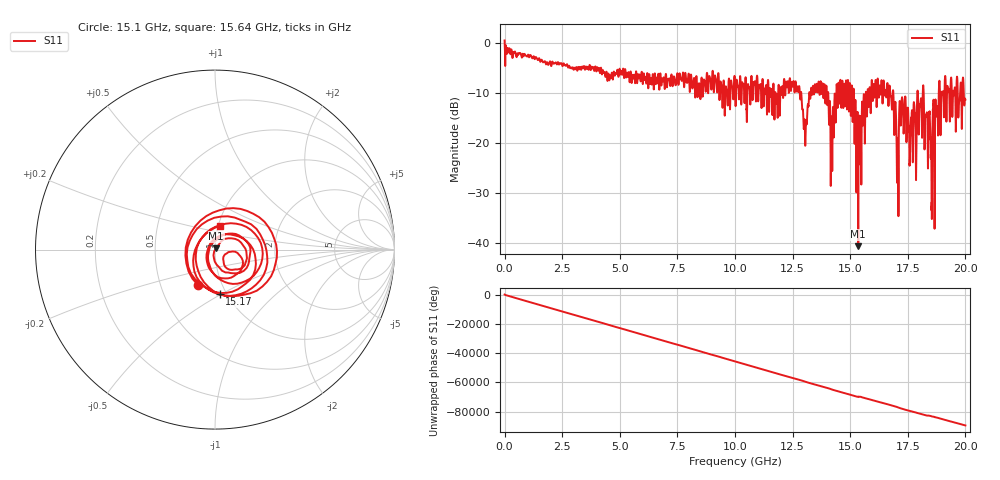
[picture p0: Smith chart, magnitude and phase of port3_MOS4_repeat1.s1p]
! MS46122B
! 2250307/22442219
! 7/28/2025 2:08:53 PM
! C:\USERS\SPARKY\DOCUMENTS\VNA_DATA\JULY28_2025\3K\PORT3_MOS4_REPEAT1.S1P
! CHANNEL.1
! TR.MEASUREMENT
! RAW.DATA
# GHZ S RI R 50.0
! FREQ.GHZ  S11RE  S11IM
!; PortSelection: Port_1
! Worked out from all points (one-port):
!   10001 points, 1 MHz to 20 GHz, reference 50 ohm
!   lowest |S11| = -40.6 dB at 15.35 GHz (marker M1), VSWR 1.02, Z = 50.6 + j0.694 ohm
!   |S11| at or under -10 dB: 15.16 GHz to 15.68 GHz (519.8 MHz wide, 3.37 % of centre); 16.87 GHz to 17.91 GHz (1.041 GHz wide, 5.99 % of centre); 18.19 GHz to 18.85 GHz (655.1 MHz wide, 3.54 % of centre) (the widest 3 of 82)
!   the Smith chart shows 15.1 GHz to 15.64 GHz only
!   S11 on the Smith chart (normalised r, x): 15.1 GHz: 0.77, -0.32; 15.17 GHz: 0.93, -0.49; 15.64 GHz: 1.02, +0.28
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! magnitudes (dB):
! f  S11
! 1 MHz  0.4
! 2.501 GHz  -4.6
! 5.001 GHz  -5.4
! 7.501 GHz  -6.1
! 10 GHz  -7.9
! 11.78 GHz  -12.2
! 12.5 GHz  -8.8
! 12.8 GHz  -8.9
! 13.04 GHz  -18.9
! 13.55 GHz  -8.2
! 13.96 GHz  -8.7
! 14.21 GHz  -19.8
! 14.49 GHz  -8.0
! 15 GHz  -9.1
! 15.1 GHz  -13.2
! 15.17 GHz  -12.0
! 15.35 GHz  -40.6
! 15.64 GHz  -17.3
! 16.53 GHz  -9.5
! 16.79 GHz  -11.7
! 17.01 GHz  -18.1
! 17.21 GHz  -14.3
! 17.5 GHz  -13.2
! 17.79 GHz  -13.3
! 18.1 GHz  -14.8
! 18.46 GHz  -16.2
! 19.05 GHz  -11.5
! 20 GHz  -11.4
